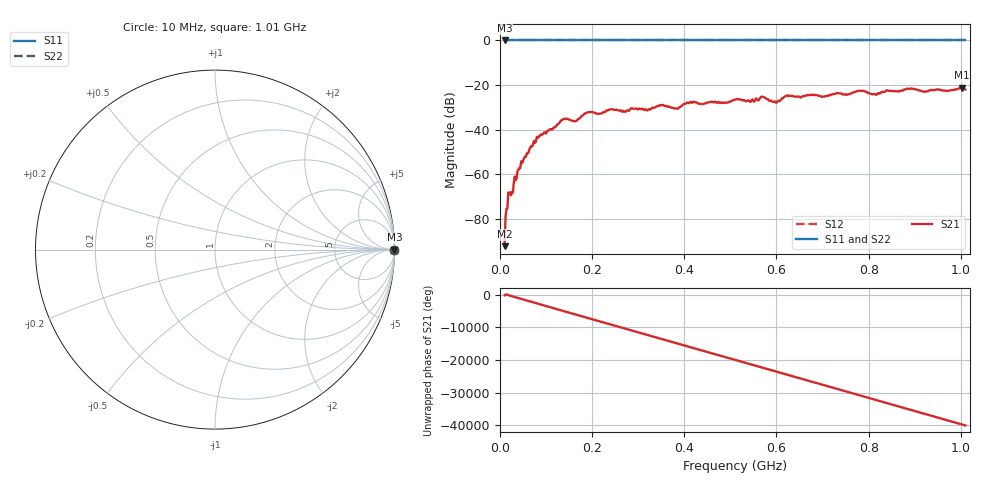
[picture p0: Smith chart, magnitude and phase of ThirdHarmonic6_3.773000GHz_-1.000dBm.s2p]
! 8/17/2025 12:59:32 PM
! C:\ANRITSUVNA\TEMP\TEMP.S2P
! CHANNEL.1
! TR.MEASUREMENT
! RAW.DATA
! RF.CORRECTION.OFF
! AVERAGING.OFF
! IF.BANDWIDTH: 5KHZ
! SWEEPTYPE:  FREQ.SWEEP(Linear)
! Reference Plane Port Info
! PORT:  PORT1  PORT2
! DISTANCE:  0  m  0  m
! TIME:  0  s  0  s
! PHASE.OFFSET:  0  deg.  0  deg.
! LOSS:  0  dB  0  dB
! REF.LOSS:  0  dB  0  dB
! REF.FREQ:  0  Hz  0  Hz
! Power Info
! POWER:  -20  dBm  -20  dBm
! EFF.POWER:  -20  dBm  -20  dBm
! SOURCE.ATTEN:  0  dB  0  dB
! TEST.ATTEN:  0  dB  0  dB
# GHZ S RI R 50.0
! FREQ.GHZ  S11RE  S11IM  S21RE  S21IM  S12RE  S12IM  S22RE  S22IM
!; PortSelection: Port_12
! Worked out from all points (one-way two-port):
!   501 points, 10 MHz to 1.01 GHz, reference 50 ohm
!   highest |S21| = -21.21 dB at 1.002 GHz (marker M1); lowest = -92.1 dB at 10 MHz (marker M2)
!   lowest |S11| = 0.0 dB at 10 MHz (marker M3)
!   |S11| at or under -10 dB: nowhere
!   |S22| runs from 0.0 to 0.0 dB; largest |S21 - S12| = 1.1
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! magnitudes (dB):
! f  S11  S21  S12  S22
! 10 MHz  0.0  -92.1  0.0  0.0
! 18 MHz  0.0  -68.1  0.0  0.0
! 42 MHz  0.0  -57.1  0.0  0.0
! 76 MHz  0.0  -45.8  0.0  0.0
! 136 MHz  0.0  -35.5  0.0  0.0
! 162 MHz  0.0  -36.2  0.0  0.0
! 178 MHz  0.0  -33.7  0.0  0.0
! 192 MHz  0.0  -32.1  0.0  0.0
! 344 MHz  0.0  -29.4  0.0  0.0
! 382 MHz  0.0  -30.5  0.0  0.0
! 410 MHz  0.0  -28.1  0.0  0.0
! 510 MHz  0.0  -26.6  0.0  0.0
! 548 MHz  0.0  -26.4  0.0  0.0
! 570 MHz  0.0  -25.2  0.0  0.0
! 598 MHz  0.0  -27.7  0.0  0.0
! 622 MHz  0.0  -24.7  0.0  0.0
! 678 MHz  0.0  -24.4  0.0  0.0
! 782 MHz  0.0  -22.6  0.0  0.0
! 814 MHz  0.0  -24.1  0.0  0.0
! 844 MHz  0.0  -22.6  0.0  0.0
! 1.002 GHz  0.0  -21.2  0.0  0.0
! 1.01 GHz  0.0  -22.0  0.0  0.0
